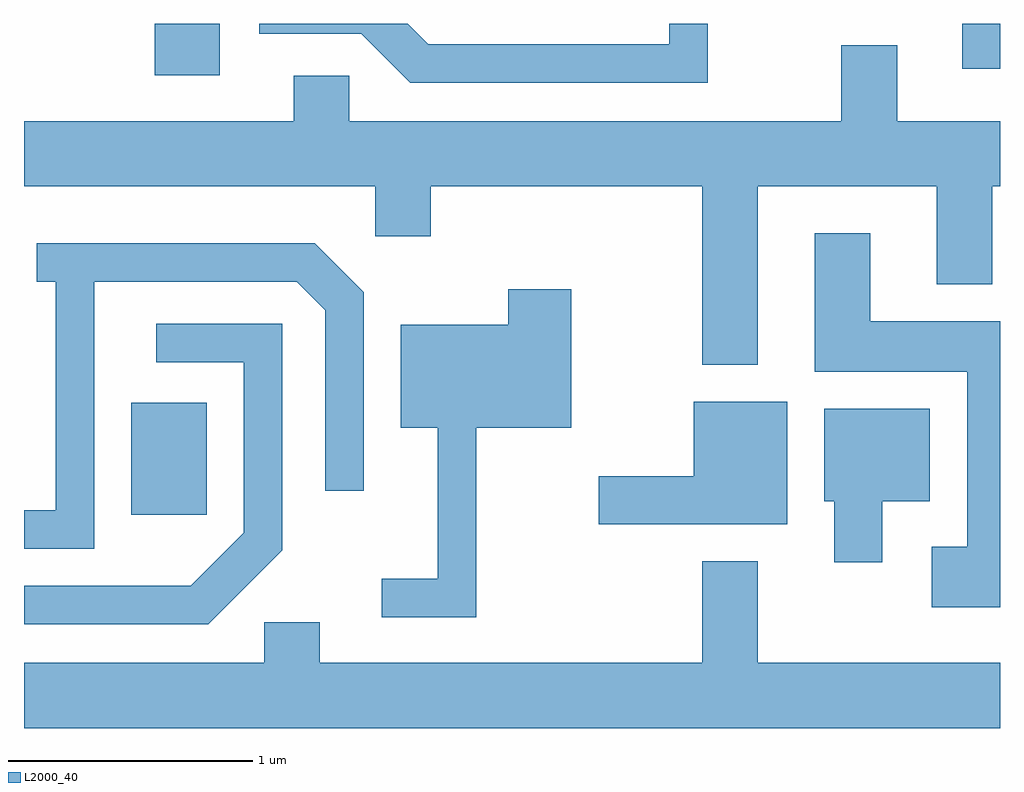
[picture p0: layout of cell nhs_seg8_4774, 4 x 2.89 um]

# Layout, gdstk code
import gdstk
lib = gdstk.Library(unit=1e-6, precision=1e-09)
def R(c, l, rs):  # rectangles x0, y0, x1, y1
    for r in rs: c.add(gdstk.rectangle(r[:2], r[2:], *l))
def P(c, l, *ps):  # polygons
    for p in ps: c.add(gdstk.Polygon(p, *l))
L2000_40 = (2000, 40)

nhs_seg8_4774 = lib.new_cell('nhs_seg8_4774')
R(nhs_seg8_4774, L2000_40, [(328.051,1908.331,328.359,1908.789), (328.146,1910.131,328.414,1910.342), (331.456,1910.158,331.611,1910.342)])
P(nhs_seg8_4774, L2000_40, [(330.414,1910.342),(330.256,1910.342),(330.256,1910.259),(329.267,1910.259),(329.184,1910.342),(328.576,1910.342),(328.576,1910.301),(328.994,1910.301),(329.194,1910.101),(330.414,1910.101)],
  [(330.619,1909.676),(331.351,1909.676),(331.351,1909.276),(331.579,1909.276),(331.579,1909.676),(331.611,1909.676),(331.611,1909.944),(331.189,1909.944),(331.189,1910.254),(330.961,1910.254),(330.961,1909.944),(328.944,1909.944),(328.944,1910.129),(328.716,1910.129),(328.716,1909.944),(327.611,1909.944),(327.611,1909.676),(329.051,1909.676),(329.051,1909.471),(329.279,1909.471),(329.279,1909.676),(330.391,1909.676),(330.391,1908.946),(330.619,1908.946)],
  [(331.611,1909.124),(331.079,1909.124),(331.079,1909.484),(330.851,1909.484),(330.851,1908.916),(331.476,1908.916),(331.476,1908.199),(331.331,1908.199),(331.331,1907.951),(331.611,1907.951)],
  [(327.899,1909.286),(328.729,1909.286),(328.846,1909.169),(328.846,1908.428),(329.004,1908.428),(329.004,1909.242),(328.802,1909.444),(327.663,1909.444),(327.663,1909.286),(327.741,1909.286),(327.741,1908.349),(327.611,1908.349),(327.611,1908.191),(327.899,1908.191)],
  [(329.464,1908.686),(329.854,1908.686),(329.854,1909.254),(329.596,1909.254),(329.596,1909.109),(329.156,1909.109),(329.156,1908.686),(329.306,1908.686),(329.306,1908.069),(329.078,1908.069),(329.078,1907.911),(329.464,1907.911)],
  [(328.669,1908.184),(328.669,1909.114),(328.153,1909.114),(328.153,1908.956),(328.511,1908.956),(328.511,1908.257),(328.294,1908.039),(327.611,1908.039),(327.611,1907.881),(328.367,1907.881)],
  [(330.739,1908.794),(330.356,1908.794),(330.356,1908.489),(329.966,1908.489),(329.966,1908.291),(330.739,1908.291)],
  [(331.129,1908.386),(331.324,1908.386),(331.324,1908.764),(330.891,1908.764),(330.891,1908.386),(330.931,1908.386),(330.931,1908.136),(331.129,1908.136)],
  [(331.611,1907.724),(330.619,1907.724),(330.619,1908.139),(330.391,1908.139),(330.391,1907.724),(328.824,1907.724),(328.824,1907.889),(328.596,1907.889),(328.596,1907.724),(327.611,1907.724),(327.611,1907.456),(331.611,1907.456)])

lib.write_gds('nhs_seg8_4774.gds')
